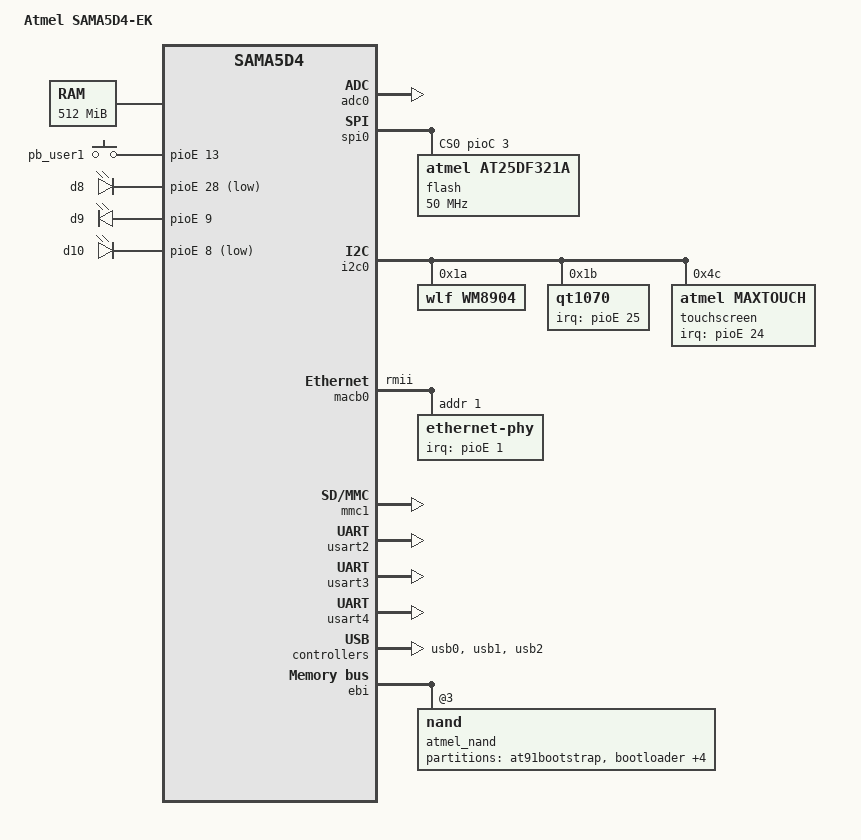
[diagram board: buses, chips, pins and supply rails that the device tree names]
// SPDX-License-Identifier: (GPL-2.0+ OR MIT)
/*
 * at91-sama5d4ek.dts - Device Tree file for SAMA5D4 Evaluation Kit
 *
 *  Copyright (C) 2014 Atmel,
 *                2014 Nicolas Ferre <nicolas.ferre@atmel.com>
 */
/dts-v1/;
#include "sama5d4.dtsi"

/ {
	model = "Atmel SAMA5D4-EK";
	compatible = "atmel,sama5d4ek", "atmel,sama5d4", "atmel,sama5";

	chosen {
		stdout-path = "serial0:115200n8";
	};

	memory@20000000 {
		reg = <0x20000000 0x20000000>;
	};

	clocks {
		slow_xtal {
			clock-frequency = <32768>;
		};

		main_xtal {
			clock-frequency = <12000000>;
		};
	};

	ahb {
		apb {
			adc0: adc@fc034000 {
				pinctrl-names = "default";
				pinctrl-0 = <
					/* external trigger conflicts with USBA_VBUS */
					&pinctrl_adc0_ad0
					&pinctrl_adc0_ad1
					&pinctrl_adc0_ad2
					&pinctrl_adc0_ad3
					&pinctrl_adc0_ad4
					>;
				/* The vref depends on JP22 of EK. If connect 1-2 then use 3.3V. connect 2-3 use 3.0V */
				atmel,adc-vref = <3300>;
				/*atmel,adc-ts-wires = <4>;*/	/* Set up ADC touch screen */
				status = "okay";		/* Enable ADC IIO support */
			};

			mmc0: mmc@f8000000 {
				pinctrl-names = "default";
				pinctrl-0 = <&pinctrl_mmc0_clk_cmd_dat0 &pinctrl_mmc0_dat1_3 &pinctrl_mmc0_cd>;
				slot@0 {
					reg = <0>;
					bus-width = <4>;
					cd-gpios = <&pioE 5 0>;
				};
			};

			ssc0: ssc@f8008000 {
				status = "okay";
			};

			spi0: spi@f8010000 {
				cs-gpios = <&pioC 3 0>, <0>, <0>, <0>;
				status = "okay";
				flash@0 {
					compatible = "atmel,at25df321a";
					spi-max-frequency = <50000000>;
					reg = <0>;
				};
			};

			i2c0: i2c@f8014000 {
				status = "okay";

				wm8904: codec@1a {
					compatible = "wlf,wm8904";
					reg = <0x1a>;
					clocks = <&pmc PMC_TYPE_SYSTEM 10>;
					clock-names = "mclk";
				};

				qt1070:keyboard@1b {
					compatible = "qt1070";
					reg = <0x1b>;
					interrupt-parent = <&pioE>;
					interrupts = <25 0x0>;
					pinctrl-names = "default";
					pinctrl-0 = <&pinctrl_qt1070_irq>;
					wakeup-source;
				};

				touchscreen@4c {
					compatible = "atmel,maxtouch";
					reg = <0x4c>;
					interrupt-parent = <&pioE>;
					interrupts = <24 0x0>;
					pinctrl-names = "default";
					pinctrl-0 = <&pinctrl_mxt_ts>;
				};
			};

			macb0: ethernet@f8020000 {
				pinctrl-0 = <&pinctrl_macb0_rmii &pinctrl_macb0_phy_irq>;
				phy-mode = "rmii";
				status = "okay";

				ethernet-phy@1 {
					reg = <0x1>;
					interrupt-parent = <&pioE>;
					interrupts = <1 IRQ_TYPE_LEVEL_LOW>;
				};
			};

			mmc1: mmc@fc000000 {
				pinctrl-names = "default";
				pinctrl-0 = <&pinctrl_mmc1_clk_cmd_dat0 &pinctrl_mmc1_dat1_3 &pinctrl_mmc1_cd>;
				status = "okay";
				slot@0 {
					reg = <0>;
					bus-width = <4>;
					cd-gpios = <&pioE 6 0>;
				};
			};

			usart2: serial@fc008000 {
				status = "okay";
			};

			usart3: serial@fc00c000 {
				status = "okay";
			};

			usart4: serial@fc010000 {
				status = "okay";
			};

			tcb2: timer@fc024000 {
				timer@0 {
					compatible = "atmel,tcb-timer";
					reg = <0>;
				};

				timer@1 {
					compatible = "atmel,tcb-timer";
					reg = <1>;
				};
			};

			watchdog@fc068640 {
				status = "okay";
			};

			pinctrl@fc06a000 {
				board {
					pinctrl_macb0_phy_irq: macb0_phy_irq {
						atmel,pins =
							<AT91_PIOE 1 AT91_PERIPH_GPIO AT91_PINCTRL_NONE>;
					};
					pinctrl_mmc0_cd: mmc0_cd {
						atmel,pins =
							<AT91_PIOE 5 AT91_PERIPH_GPIO AT91_PINCTRL_PULL_UP_DEGLITCH>;
					};
					pinctrl_mmc1_cd: mmc1_cd {
						atmel,pins =
							<AT91_PIOE 6 AT91_PERIPH_GPIO AT91_PINCTRL_PULL_UP_DEGLITCH>;
					};
					pinctrl_pck2_as_audio_mck: pck2_as_audio_mck {
						atmel,pins =
							<AT91_PIOB 10 AT91_PERIPH_B AT91_PINCTRL_NONE>;
					};
					pinctrl_usba_vbus: usba_vbus {
						atmel,pins =
							<AT91_PIOE 31 AT91_PERIPH_GPIO AT91_PINCTRL_DEGLITCH>;
					};
					pinctrl_key_gpio: key_gpio_0 {
						atmel,pins =
							<AT91_PIOE 13 AT91_PERIPH_GPIO AT91_PINCTRL_PULL_UP_DEGLITCH>; /* PE13 gpio */
					};
					pinctrl_qt1070_irq: qt1070_irq {
						atmel,pins =
							<AT91_PIOE 25 AT91_PERIPH_GPIO AT91_PINCTRL_PULL_UP_DEGLITCH>;
					};
					pinctrl_mxt_ts: mxt_irq {
						atmel,pins =
							<AT91_PIOE 24 AT91_PERIPH_GPIO AT91_PINCTRL_PULL_UP_DEGLITCH>;
					};
				};
			};
		};

		usb0: gadget@400000 {
			atmel,vbus-gpio = <&pioE 31 GPIO_ACTIVE_HIGH>;
			pinctrl-names = "default";
			pinctrl-0 = <&pinctrl_usba_vbus>;
			status = "okay";
		};

		usb1: usb@500000 {
			num-ports = <3>;
			atmel,vbus-gpio = <0 /* &pioE 10 GPIO_ACTIVE_LOW */
					   &pioE 11 GPIO_ACTIVE_LOW
					   &pioE 12 GPIO_ACTIVE_LOW
					  >;
			status = "okay";
		};

		usb2: usb@600000 {
			status = "okay";
		};

		ebi: ebi@10000000 {
			pinctrl-0 = <&pinctrl_ebi_cs3 &pinctrl_ebi_nrd_nandoe
				     &pinctrl_ebi_nwe_nandwe &pinctrl_ebi_nandrdy
				     &pinctrl_ebi_data_0_7 &pinctrl_ebi_nand_addr>;
			pinctrl-names = "default";
			status = "okay";

			nand_controller: nand-controller {
				status = "okay";

				nand@3 {
					reg = <0x3 0x0 0x2>;
					atmel,rb = <0>;
					nand-bus-width = <8>;
					nand-ecc-mode = "hw";
					nand-on-flash-bbt;
					label = "atmel_nand";

					partitions {
						compatible = "fixed-partitions";
						#address-cells = <1>;
						#size-cells = <1>;

						at91bootstrap@0 {
							label = "at91bootstrap";
							reg = <0x0 0x40000>;
						};

						bootloader@40000 {
							label = "bootloader";
							reg = <0x40000 0x80000>;
						};

						bootloaderenv@c0000 {
							label = "bootloader env";
							reg = <0xc0000 0xc0000>;
						};

						dtb@180000 {
							label = "device tree";
							reg = <0x180000 0x80000>;
						};

						kernel@200000 {
							label = "kernel";
							reg = <0x200000 0x600000>;
						};

						rootfs@800000 {
							label = "rootfs";
							reg = <0x800000 0x0f800000>;
						};
					};
				};
			};
		};
	};

	gpio-keys {
		compatible = "gpio-keys";

		pinctrl-names = "default";
		pinctrl-0 = <&pinctrl_key_gpio>;

		button {
			label = "pb_user1";
			gpios = <&pioE 13 GPIO_ACTIVE_HIGH>;
			linux,code = <0x100>;
			wakeup-source;
		};
	};

	leds {
		compatible = "gpio-leds";
		status = "okay";

		led-d8 {
			label = "d8";
			/* PE28, conflicts with usart4 rts pin */
			gpios = <&pioE 28 GPIO_ACTIVE_LOW>;
		};

		led-d9 {
			label = "d9";
			gpios = <&pioE 9 GPIO_ACTIVE_HIGH>;
		};

		led-d10 {
			label = "d10";
			gpios = <&pioE 8 GPIO_ACTIVE_LOW>;
			linux,default-trigger = "heartbeat";
		};
	};

	sound {
		compatible = "atmel,asoc-wm8904";
		pinctrl-names = "default";
		pinctrl-0 = <&pinctrl_pck2_as_audio_mck>;

		atmel,model = "wm8904 @ SAMA5D4EK";
		atmel,audio-routing =
			"Headphone Jack", "HPOUTL",
			"Headphone Jack", "HPOUTR",
			"IN1L", "Line In Jack",
			"IN1R", "Line In Jack";

		atmel,ssc-controller = <&ssc0>;
		atmel,audio-codec = <&wm8904>;
	};
};
